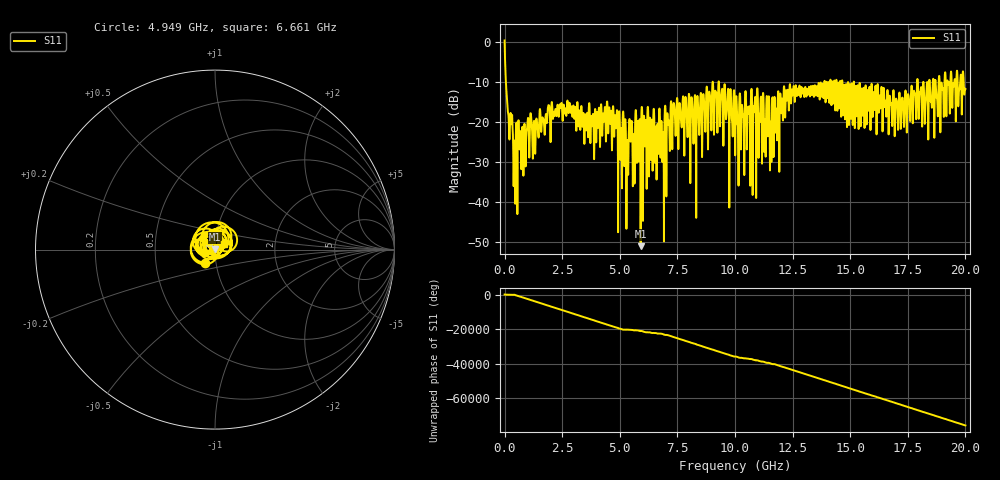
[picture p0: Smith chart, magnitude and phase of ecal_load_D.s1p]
! MS46122B
! 2250307/22442219
! 7/25/2025 1:34:49 PM
! C:\USERS\SPARKY\DOCUMENTS\VNA_DATA\JULY25_2025\3K\ECAL_LOAD_D.S1P
! CHANNEL.1
! TR.MEASUREMENT
! RAW.DATA
# GHZ S RI R 50.0
! FREQ.GHZ  S11RE  S11IM
!; PortSelection: Port_1
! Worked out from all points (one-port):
!   10001 points, 1 MHz to 20 GHz, reference 50 ohm
!   lowest |S11| = -51.1 dB at 5.905 GHz (marker M1), VSWR 1.01, Z = 50.2 + j0.235 ohm
!   |S11| at or under -10 dB: 56.68 MHz to 9.029 GHz (8.973 GHz wide, 198 % of centre); 9.3 GHz to 13.88 GHz (4.579 GHz wide, 39.5 % of centre); 15.16 GHz to 17.91 GHz (2.744 GHz wide, 16.6 % of centre) (the widest 3 of 25)
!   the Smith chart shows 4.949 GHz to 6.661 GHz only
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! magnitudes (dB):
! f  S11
! 1 MHz  0.4
! 143 MHz  -17.4
! 469 MHz  -34.0
! 585 MHz  -21.0
! 1.077 GHz  -27.3
! 1.273 GHz  -19.9
! 2.501 GHz  -17.6
! 3.807 GHz  -20.9
! 4.527 GHz  -17.1
! 5.001 GHz  -20.8
! 5.165 GHz  -19.2
! 5.283 GHz  -34.2
! 5.457 GHz  -23.2
! 5.905 GHz  -51.1
! 6.725 GHz  -16.7
! 6.845 GHz  -29.2
! 7.291 GHz  -21.6
! 7.501 GHz  -14.5
! 8.389 GHz  -14.6
! 9.101 GHz  -18.5
! 10 GHz  -22.5
! 10.08 GHz  -17.1
! 10.9 GHz  -17.7
! 11.59 GHz  -20.3
! 12.5 GHz  -13.3
! 15 GHz  -11.1
! 17.5 GHz  -13.4
! 20 GHz  -11.8
